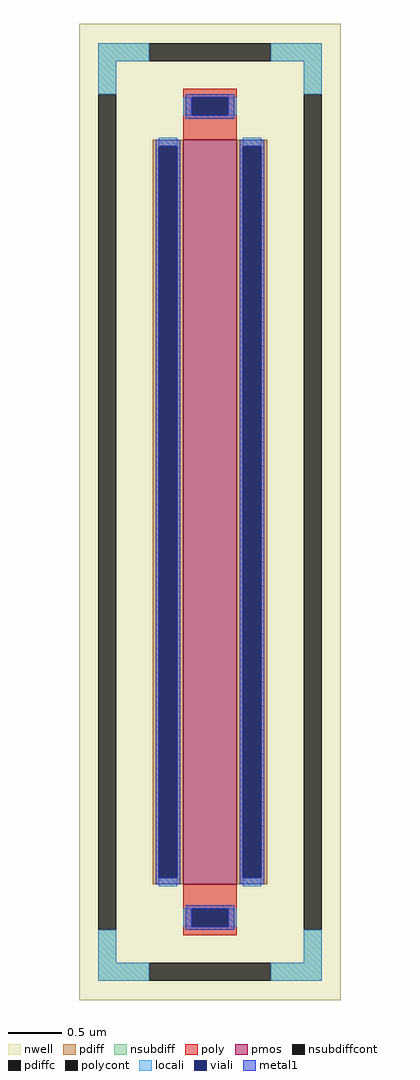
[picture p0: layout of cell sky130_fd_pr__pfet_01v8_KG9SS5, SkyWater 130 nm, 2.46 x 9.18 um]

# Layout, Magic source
magic
tech sky130A
magscale 1 2
<< nwell >>
rect -246 -918 246 918
<< pmos >>
rect -50 -700 50 700
<< pdiff >>
rect -108 688 -50 700
rect -108 -688 -96 688
rect -62 -688 -50 688
rect -108 -700 -50 -688
rect 50 688 108 700
rect 50 -688 62 688
rect 96 -688 108 688
rect 50 -700 108 -688
<< pdiffc >>
rect -96 -688 -62 688
rect 62 -688 96 688
<< nsubdiff >>
rect -210 848 -114 882
rect 114 848 210 882
rect -210 786 -176 848
rect 176 786 210 848
rect -210 -848 -176 -786
rect 176 -848 210 -786
rect -210 -882 -114 -848
rect 114 -882 210 -848
<< nsubdiffcont >>
rect -114 848 114 882
rect -210 -786 -176 786
rect 176 -786 210 786
rect -114 -882 114 -848
<< poly >>
rect -50 780 50 796
rect -50 746 -34 780
rect 34 746 50 780
rect -50 700 50 746
rect -50 -746 50 -700
rect -50 -780 -34 -746
rect 34 -780 50 -746
rect -50 -796 50 -780
<< polycont >>
rect -34 746 34 780
rect -34 -780 34 -746
<< locali >>
rect -210 848 -114 882
rect 114 848 210 882
rect -210 786 -176 848
rect 176 786 210 848
rect -50 746 -34 780
rect 34 746 50 780
rect -96 688 -62 704
rect -96 -704 -62 -688
rect 62 688 96 704
rect 62 -704 96 -688
rect -50 -780 -34 -746
rect 34 -780 50 -746
rect -210 -848 -176 -786
rect 176 -848 210 -786
rect -210 -882 -114 -848
rect 114 -882 210 -848
<< viali >>
rect -34 746 34 780
rect -96 -688 -62 688
rect 62 -688 96 688
rect -34 -780 34 -746
<< metal1 >>
rect -46 780 46 786
rect -46 746 -34 780
rect 34 746 46 780
rect -46 740 46 746
rect -102 688 -56 700
rect -102 -688 -96 688
rect -62 -688 -56 688
rect -102 -700 -56 -688
rect 56 688 102 700
rect 56 -688 62 688
rect 96 -688 102 688
rect 56 -700 102 -688
rect -46 -746 46 -740
rect -46 -780 -34 -746
rect 34 -780 46 -746
rect -46 -786 46 -780
<< properties >>
string FIXED_BBOX -192 -866 192 866
string gencell sky130_fd_pr__pfet_01v8
string library sky130
string parameters w 7 l 0.5 m 1 nf 1 diffcov 100 polycov 100 guard 1 glc 1 grc 1 gtc 1 gbc 1 tbcov 100 rlcov 100 topc 1 botc 1 poverlap 0 doverlap 1 lmin 0.15 wmin 0.42 compatible {sky130_fd_pr__pfet_01v8  sky130_fd_pr__pfet_01v8_lvt sky130_fd_pr__pfet_01v8_hvt  sky130_fd_pr__pfet_g5v0d10v5} full_metal 1 viasrc 100 viadrn 100 viagate 100 viagb 0 viagr 0 viagl 0 viagt 0
<< end >>
